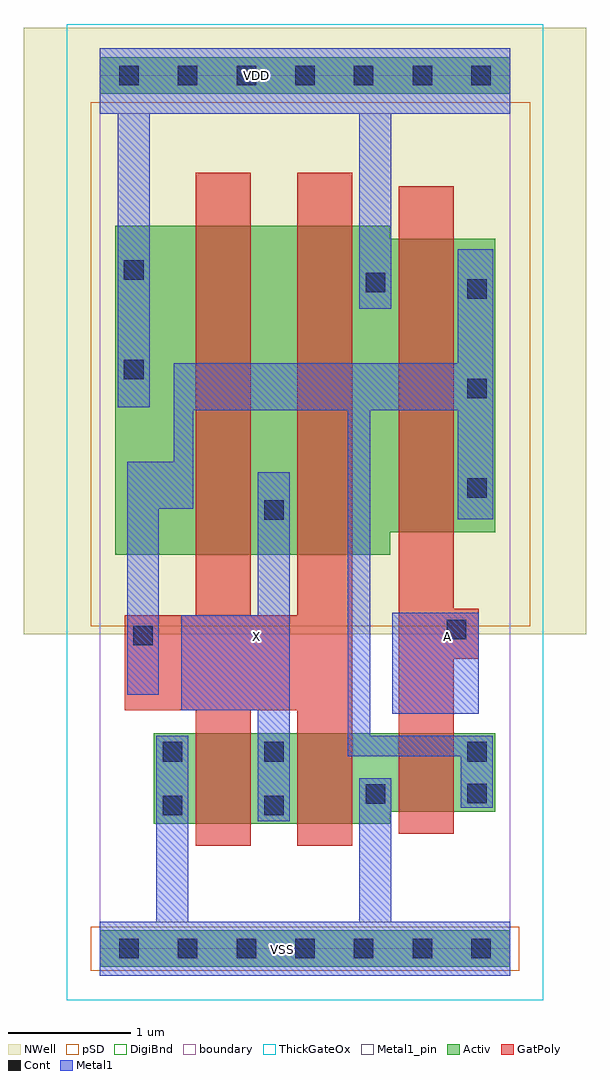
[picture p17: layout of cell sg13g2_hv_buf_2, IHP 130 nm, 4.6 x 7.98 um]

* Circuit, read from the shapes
.subckt sg13g2_hv_buf_2 A VDD VSS X
XM1 X n1 VSS VSS sg13_hv_nmos w=0.74u l=0.45u m=2
XM2 n1 A VSS VSS sg13_hv_nmos w=0.64u l=0.45u
XM3 X n1 VDD VDD sg13_hv_pmos w=2.69u l=0.45u m=2
XM4 n1 A VDD VDD sg13_hv_pmos w=2.4u l=0.45u
.ends

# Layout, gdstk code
import gdstk
lib = gdstk.Library(unit=1e-6, precision=1e-09)
def R(c, l, rs):  # rectangles x0, y0, x1, y1
    for r in rs: c.add(gdstk.rectangle(r[:2], r[2:], *l))
def A(c, l, x, y, w, h, nx, ny, dx, dy):  # array of equal rectangles
    R(c, l, [(x+i*dx, y+j*dy, x+i*dx+w, y+j*dy+h) for i in range(nx) for j in range(ny)])
def P(c, l, *ps):  # polygons
    for p in ps: c.add(gdstk.Polygon(p, *l))
Activ = (1, 0)
GatPoly = (5, 0)
Cont = (6, 0)
Metal1 = (8, 0)
Metal1_pin = (8, 2)
pSD = (14, 0)
DigiBnd = (16, 0)
NWell = (31, 0)
ThickGateOx = (44, 0)
boundary = (189, 4)

sg13g2_hv_buf_2 = lib.new_cell('sg13g2_hv_buf_2')
R(sg13g2_hv_buf_2, Activ, [(0,-0.15,3.36,0.15), (0,6.99,3.36,7.29)])
P(sg13g2_hv_buf_2, Activ, [(0.445,1.02),(0.445,1.76),(3.235,1.76),(3.235,1.12),(2.375,1.12),(2.375,1.02)],
  [(0.13,3.22),(0.13,5.91),(2.375,5.91),(2.375,5.805),(3.235,5.805),(3.235,3.405),(2.375,3.405),(2.375,3.22)])
P(sg13g2_hv_buf_2, GatPoly, [(2.445,0.94),(2.445,6.235),(2.895,6.235),(2.895,2.78),(3.1,2.78),(3.1,2.37),(2.895,2.37),(2.895,0.94)],
  [(0.785,0.84),(0.785,1.95),(0.205,1.95),(0.205,2.725),(0.785,2.725),(0.785,6.345),(1.235,6.345),(1.235,2.725),(1.615,2.725),(1.615,6.345),(2.065,6.345),(2.065,0.84),(1.615,0.84),(1.615,1.95),(1.235,1.95),(1.235,0.84)])
A(sg13g2_hv_buf_2, Cont, 0.16, -0.08, 0.16, 0.16, 7, 2, 0.48, 7.14)
A(sg13g2_hv_buf_2, Cont, 3.005, 3.685, 0.16, 0.16, 1, 3, 0, 0.815)
R(sg13g2_hv_buf_2, Cont, [(0.515,1.09,0.675,1.25), (1.345,1.09,1.505,1.25), (2.175,1.185,2.335,1.345), (3.005,1.19,3.165,1.35), (0.515,1.53,0.675,1.69), (1.345,1.53,1.505,1.69), (3.005,1.53,3.165,1.69), (0.275,2.48,0.435,2.64), (2.84,2.53,3,2.69), (1.345,3.505,1.505,3.665), (0.2,4.655,0.36,4.815), (2.175,5.365,2.335,5.525), (0.2,5.47,0.36,5.63)])
R(sg13g2_hv_buf_2, Metal1, [(2.395,1.92,3.1,2.745)])
P(sg13g2_hv_buf_2, Metal1, [(2.955,1.15),(2.955,1.575),(2.03,1.575),(2.03,4.4),(0.765,4.4),(0.765,3.595),(0.485,3.595),(0.485,2.075),(0.225,2.075),(0.225,3.98),(0.605,3.98),(0.605,4.785),(2.93,4.785),(2.93,5.72),(3.22,5.72),(3.22,3.51),(2.93,3.51),(2.93,4.4),(2.215,4.4),(2.215,1.74),(3.215,1.74),(3.215,1.15)],
  [(0.15,4.425),(0.15,6.825),(0,6.825),(0,7.36),(3.36,7.36),(3.36,6.825),(2.385,6.825),(2.385,5.23),(2.125,5.23),(2.125,6.825),(0.41,6.825),(0.41,4.425)],
  [(1.295,1.04),(1.295,1.95),(0.67,1.95),(0.67,2.725),(1.295,2.725),(1.295,3.895),(1.555,3.895),(1.555,1.04)],
  [(0,-0.22),(0,0.22),(0.465,0.22),(0.465,1.74),(0.725,1.74),(0.725,0.22),(2.125,0.22),(2.125,1.395),(2.385,1.395),(2.385,0.22),(3.36,0.22),(3.36,-0.22)])
R(sg13g2_hv_buf_2, Metal1_pin, [(0,-0.22,3.36,0.22), (2.395,1.92,3.1,2.745), (0.67,1.95,1.555,2.725), (0,6.825,3.36,7.36)])
R(sg13g2_hv_buf_2, pSD, [(-0.07,-0.18,3.43,0.18), (-0.07,2.635,3.52,6.92)])
R(sg13g2_hv_buf_2, DigiBnd, [(0,0,3.36,7.14)])
R(sg13g2_hv_buf_2, NWell, [(-0.62,2.57,3.98,7.53)])
R(sg13g2_hv_buf_2, ThickGateOx, [(-0.27,-0.42,3.63,7.56)])
R(sg13g2_hv_buf_2, boundary, [(0,0,3.36,7.14)])
sg13g2_hv_buf_2.add(gdstk.Label('VSS', (1.495,-0.005), layer=8, texttype=25))
sg13g2_hv_buf_2.add(gdstk.Label('VDD', (1.285,7.14), layer=8, texttype=25))
sg13g2_hv_buf_2.add(gdstk.Label('X', (1.28,2.555), layer=8, texttype=25))
sg13g2_hv_buf_2.add(gdstk.Label('A', (2.845,2.555), layer=8, texttype=25))

lib.write_gds('sg13g2_hv_buf_2.gds')
